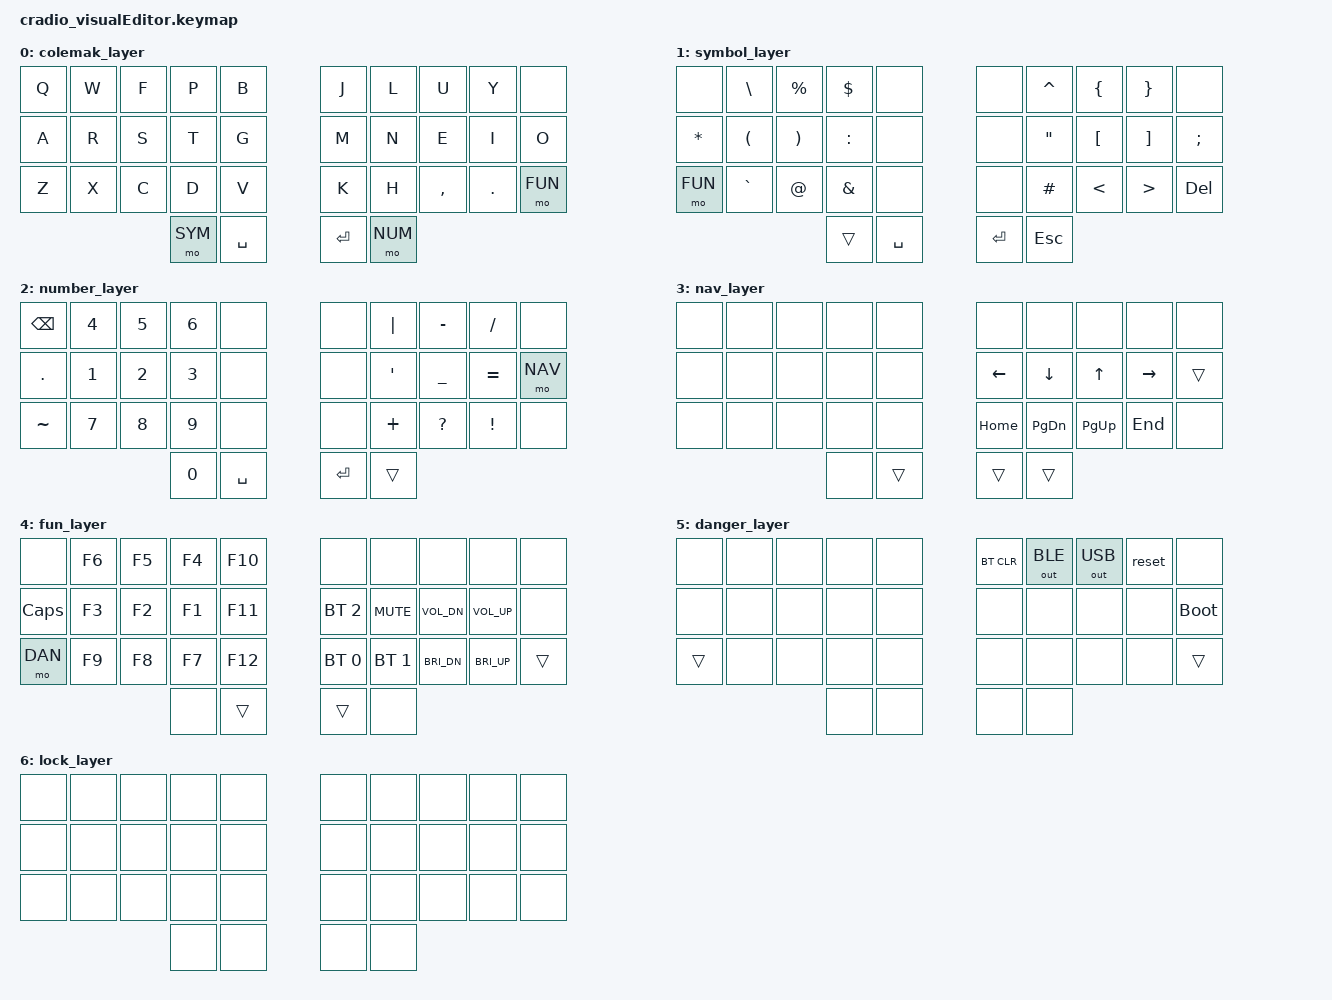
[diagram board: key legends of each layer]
/*
 * Copyright (c) 2020 The ZMK Contributors
 *
 * SPDX-License-Identifier: MIT
 */


#include <behaviors.dtsi>
#include <dt-bindings/zmk/keys.h>
#include <dt-bindings/zmk/bt.h>
#include <dt-bindings/zmk/outputs.h>
 
#define CMK 0
#define SYM 1
#define NUM 2
#define NAV 3
#define FUN 4
#define DAN 5
#define LCK 6

#define LONG_TIMEOUT_MS 100
#define NORMAL_LAYERS 0 1 2 3 4 5
#define LOCK_LAYER 6

&caps_word {
   continue-list = <UNDERSCORE MINUS BACKSPACE>;
};


/ {

    behaviors {
        skq: sticky_key_quick_release {
            compatible = "zmk,behavior-sticky-key";
            label = "STICKY_KEY_QUICK_RELEASE";
            #binding-cells = <1>;
            bindings = <&kp>;
            release-after-ms = <1000>;
            quick-release;
        };
    };

        combos {
        compatible = "zmk,combos";
        combo_wf_shift {
            layers = <0 1 2 3 4 5>;
            timeout-ms = <50>;
            // W + F
            key-positions = <1 2>;
            bindings = <&skq LSHFT>;
        };
        combo_gm_capsword {
            layers = <0 1 2 3 4 5>;
            timeout-ms = <100>;
            // G + M
            key-positions = <14 15>;
            bindings = <&caps_word>;
        };
        combo_xc_ctrl {
            layers = <0 1 2 3 4 5>;
            timeout-ms = <50>;
            // X + C
            key-positions = <21 22>;
            bindings = <&sk LCTL>;
        };
        combo_unlock {
            timeout-ms = <50>;
            // (Z + SYM) + NAV (NUM + SFT)
            key-positions = <20 30 33 29>;
            bindings = <&tog LCK>;
        };
        combo_commadot_tab {
            layers = <0 1 2 3 4 5>;
            timeout-ms = <50>;
            // , + . = shift
            key-positions = <27 28>;
            bindings = <&kp TAB>;
        };
        combo_opt {
            layers = <0 1 2 3 4 5>;
            timeout-ms = <50>;
            // SYM + SPC = CMD
            key-positions = <32 33>;
            bindings = <&sk LCMD>;
        };
        combo_cmd {
            layers = <0 1 2 3 4 5>;
            timeout-ms = <50>;
            // NUM + ENT = OPT
            key-positions = <30 31>;
            bindings = <&sk LALT>;
        };
        combo_bspc {
            layers = <0 1 2 3 4 5>;
            timeout-ms = <80>;
            // SPC + ENT = BSPC
            key-positions = <31 32>;
            bindings = <&kp BSPC>;
        };
        combo_wp_q {
            layers = <0 1 2 3 4 5>;
            timeout-ms = <50>;
            // W + P = Q
            key-positions = <1 3>;
            bindings = <&kp Q>;
        };
    };
};

/*           34 Keys
╭──────────────╮ ╭──────────────╮
│ 0  1  2  3  4│ │ 5  6  7  8  9│
│10 11 12 13 14│ │15 16 17 18 19│
│20 21 22 23 24│ │25 26 27 28 29│
╰────────╮30 31│ │32 33╭────────╯
         ╰─────╯ ╰─────╯         */


/ {
        keymap {
                compatible = "zmk,keymap";
                colemak_layer {
// -----------------------------------------------------------------
// |  Q  |  W  |  F  |  P  |  B  | |  J  |  L  |  U  |  Y  |     |
// |  A  |  R  |  S  |  T  |  G  | |  M  |  N  |  E  |  I  |  O  |
// |  Z  |  X  |  C  |  D  |  V  | |  K  |  H  |  ,  |  .  |-FUN-|
//                   |-SYM-| SPC | | RET |-NUM-|
                        bindings = <
   &kp Q &kp W &kp F &kp P &kp B &kp J &kp L   &kp U     &kp Y   &none
   &kp A &kp R &kp S &kp T &kp G &kp M &kp N   &kp E     &kp I   &kp O
   &kp Z &kp X &kp C &kp D &kp V &kp K &kp H   &kp COMMA &kp DOT &mo FUN
                   &mo SYM &kp SPACE &kp RET &mo NUM
                        >;
                };
                symbol_layer {
// -----------------------------------------------------------------
// |     |  \  |  %  |  $  |     | |     |  ^  |  {  |  }  |     |
// |  *  |  (  |  )  |  :  |     | |     |  "  |  [  |  ]  |  ;  |
// |     |  `  |  @  |  &  |     | |     |  #  |  <  |  >  |-FUN-|
//                   |_SYM_| SPC | | RET | ESC |
                        bindings = <
   &none  &kp BSLH &kp PRCNT &kp DLLR  &none &none &kp CARET &kp LBRC &kp RBRC &none
   &kp STAR &kp LPAR &kp RPAR  &kp COLON &none &none &kp DQT   &kp LBKT &kp RBKT &kp SEMI
   &mo FUN  &kp GRAVE   &kp AT  &kp AMPS  &none &none &kp HASH &kp LT   &kp GT   &kp DEL
                             &trans &kp SPACE &kp RET &kp ESC
                        >;
                };
                number_layer {
// -----------------------------------------------------------------
// |     |  4  |  5  |  6  |     | |     |  |  |  -  |  /  |     |
// |  .  |  1  |  2  |  3  |     | |     |  '  |  _  |  =  |-NAV-|
// |  ~  |  7  |  8  |  9  |     | |     |  +  |  ?  |  !  |     |
//                   |  0  | SPC | | RET |_NUM_|
                        bindings = <
   &kp BSPC  &kp N4 &kp N5 &kp N6 &none &none &kp PIPE &kp MINUS &kp FSLH  &none
   &kp DOT &kp N1 &kp N2 &kp N3 &none &none &kp SQT  &kp UNDER &kp EQUAL &mo NAV  
   &kp TILDE  &kp N7 &kp N8 &kp N9 &none &none &kp PLUS &kp QMARK  &kp EXCL    &none
                 &kp N0 &kp SPACE &kp RET  &trans
                        >;
                };
                nav_layer {
// -----------------------------------------------------------------
// |     |     |     |     |     | |     |     |     |     |     |
// |     |     |     |     |     | | LFT | DWN | U P |RIGHT|_NAV_|
// |     |     |     |     |     | | HOM |PG_DN|PG_UP| END |     |
//                   |     | SPC | | RET |_NUM_|
                        bindings = <
   &none &none &none &none &none &none    &none     &none     &none     &none 
   &none &none &none &none &none &kp LEFT &kp DOWN  &kp UP    &kp RIGHT &trans  
   &none &none &none &none &none &kp HOME &kp PG_DN &kp PG_UP &kp END   &none 
                         &none &trans &trans &trans
                        >;
                };
                fun_layer {
// -----------------------------------------------------------------
// |     | F 6 | F 5 | F 4 | F10 | | <!> | <!> | <!> | <!> |     |
// |CAPSL| F 3 | F 2 | F 1 | F11 | | BT2 |VMUTE|VOLDN|VOLUP| <!> |
// |-!!!-| F 9 | F 8 | F 7 | F12 | | BT0 | BT1 |BRIDN|BRIUP|_FUN_|
//                   |     | SPC | | RET |     |
                        bindings = <
   &none &kp F6 &kp F5 &kp F4 &kp F10 &none &none &none &none &none
   &kp CAPS &kp F3   &kp F2 &kp F1 &kp F11 &bt BT_SEL 2 &kp K_MUTE &kp C_VOL_DN &kp C_VOL_UP &none
   &mo DAN &kp F9 &kp F8 &kp F7  &kp F12 &bt BT_SEL 0  &bt BT_SEL 1 &kp C_BRI_DN &kp C_BRI_UP &trans
                         &none &trans &trans &none 
                        >;
                };
                danger_layer {
// -----------------------------------------------------------------
// |     |     |     |     |     | |BTCLR| BLE | USB |RESET|     |
// |     |     |     |     |     | |     |     |     |     |BOOTL|
// |_!!!_|     |     |     |     | |     |     |     |     |_FUN_|
//                   |     |     | |     |     |
                    // impactful buttons
                    // Bluetooth clear, reset, chaning BLE/USB preference, bootloader
                    bindings = <
&none &none &none &none &none &bt BT_CLR  &out OUT_BLE &out OUT_USB &reset &none
&none &none &none &none &none &none &none &none &none &bootloader
&trans &none &none &none &none &none &none &none &none &trans
&none &none &none &none
                    >;
                };
                lock_layer {
                    // only way out is the lock combo
                    // other combos are disabled too
                    bindings = <
&none &none &none &none &none &none &none &none &none &none 
&none &none &none &none &none &none &none &none &none &none 
&none &none &none &none &none &none &none &none &none &none 
&none &none &none &none 
                    >;
                };
        };
};
